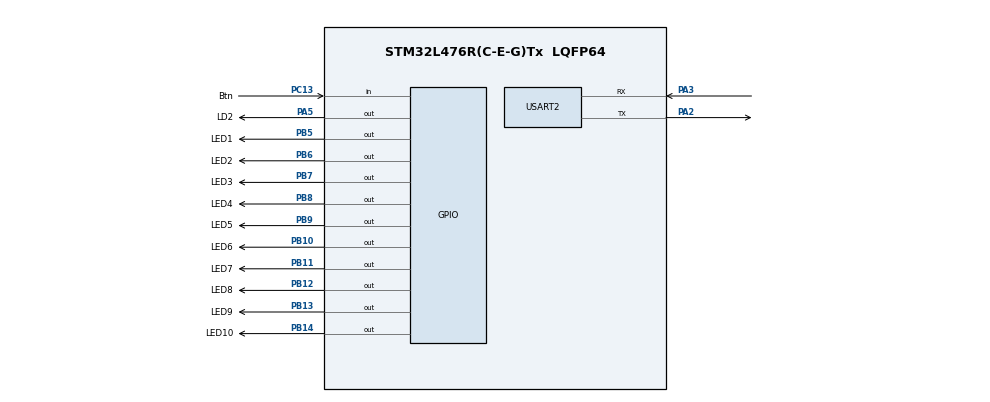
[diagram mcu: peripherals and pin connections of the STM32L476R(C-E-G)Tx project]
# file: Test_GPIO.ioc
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IWDG.Prescaler=IWDG_PRESCALER_32
Mcu.Family=STM32L4
Mcu.Name=STM32L476R(C-E-G)Tx
Mcu.Package=LQFP64
NVIC.PriorityGroup=NVIC_PRIORITYGROUP_4
PA2.Mode=Asynchronous
PA2.Signal=USART2_TX
PA3.Mode=Asynchronous
PA3.Signal=USART2_RX
PA5.GPIO_Label=LD2
PA5.Signal=GPIO_Output
PB10.GPIO_Label=LED6
PB10.Signal=GPIO_Output
PB11.GPIO_Label=LED7
PB11.Signal=GPIO_Output
PB12.GPIO_Label=LED8
PB12.Signal=GPIO_Output
PB13.GPIO_Label=LED9
PB13.Signal=GPIO_Output
PB14.GPIO_Label=LED10
PB14.Signal=GPIO_Output
PB5.GPIO_Label=LED1
PB5.Signal=GPIO_Output
PB6.GPIO_Label=LED2
PB6.Signal=GPIO_Output
PB7.GPIO_Label=LED3
PB7.Signal=GPIO_Output
PB8.GPIO_Label=LED4
PB8.Signal=GPIO_Output
PB9.GPIO_Label=LED5
PB9.Signal=GPIO_Output
PC13.GPIO_Label=Btn
PC13.Signal=GPIO_Input
PC14-OSC32_IN\ (PC14).Mode=LSE-External-Oscillator
PC14-OSC32_IN\ (PC14).Signal=RCC_OSC32_IN
PC15-OSC32_OUT\ (PC15).Mode=LSE-External-Oscillator
PC15-OSC32_OUT\ (PC15).Signal=RCC_OSC32_OUT
ProjectManager.HeapSize=0x200
ProjectManager.StackSize=0x400
ProjectManager.TargetToolchain=STM32CubeIDE
RCC.HSE_VALUE=8000000
RCC.HSI_VALUE=16000000
RCC.MSI_VALUE=4000000
RCC.RTCClockSelection=RCC_RTCCLKSOURCE_LSE
RCC.VCOOutputFreq_Value=32000000
USART2.VirtualMode-Asynchronous=VM_ASYNC
VP_IWDG_VS_IWDG.Mode=IWDG_Activate
VP_RTC_VS_RTC_Activate.Mode=RTC_Enabled
board=custom

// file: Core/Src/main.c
/* USER CODE BEGIN Header */
/**
  ******************************************************************************
  * @file           : main.c
  * @brief          : Main program body
  ******************************************************************************
  * @attention
  *
  * Copyright (c) 2022 STMicroelectronics.
  * All rights reserved.
  *
  * This software is licensed under terms that can be found in the LICENSE file
  * in the root directory of this software component.
  * If no LICENSE file comes with this software, it is provided AS-IS.
  *
  ******************************************************************************
  */
/* USER CODE END Header */
#include "main.h"
#include "iwdg.h"
#include "rtc.h"
#include "usart.h"
#include "gpio.h"

/* USER CODE BEGIN Includes */
#include <stdio.h>
#include <stdbool.h>
#include "printf_uart.h"
/* USER CODE END Includes */

void SystemClock_Config(void);

/* USER CODE BEGIN 0 */
/*
static const uint16_t LED_PIN[] = {
LED1_Pin, LED2_Pin, LED3_Pin, LED4_Pin, LED5_Pin,
LED6_Pin, LED7_Pin, LED8_Pin, LED9_Pin, LED10_Pin,
};

static GPIO_TypeDef* const LED_PORT[] = {
		LED1_GPIO_Port, LED2_GPIO_Port, LED3_GPIO_Port, LED4_GPIO_Port, LED5_GPIO_Port,
		LED6_GPIO_Port, LED7_GPIO_Port, LED8_GPIO_Port, LED9_GPIO_Port, LED10_GPIO_Port,
};
*/

typedef struct{
	GPIO_TypeDef* port;
	uint16_t pin;
}pin_t;

static const pin_t LED[] = {
		{ LED1_GPIO_Port, LED1_Pin },
		{ LED2_GPIO_Port, LED2_Pin },
		{ LED3_GPIO_Port, LED3_Pin },
		{ LED4_GPIO_Port, LED4_Pin },
		{ LED5_GPIO_Port, LED5_Pin },
		{ LED6_GPIO_Port, LED6_Pin },
		{ LED7_GPIO_Port, LED7_Pin },
		{ LED8_GPIO_Port, LED8_Pin },
		{ LED9_GPIO_Port, LED9_Pin },
		{ LED10_GPIO_Port, LED10_Pin },
};

void led_set(int led, bool turn_on)
{
	GPIO_PinState state;

	if(turn_on)
	{
		state = GPIO_PIN_SET;
	}else{
		state = GPIO_PIN_RESET;
	}

	if(led >= 0 && led < 10)
	{
		HAL_GPIO_WritePin(LED[led].port, LED[led].pin, state);

		if(state == GPIO_PIN_SET)
		{
	//		printf("Zapalona dioda to: %d \n", LED[led].pin);
		}

	}
}

bool is_button_pressed(void)
{
	if(HAL_GPIO_ReadPin(Btn_GPIO_Port, Btn_Pin) == GPIO_PIN_RESET)
	{
		return true;
	}else{
		return false;
	}
}

/* USER CODE END 0 */

int main(void)
{

  /* MCU Configuration--------------------------------------------------------*/

  /* Reset of all peripherals, Initializes the Flash interface and the Systick. */
  HAL_Init();

  /* Configure the system clock */
  SystemClock_Config();

  /* Initialize all configured peripherals */
  MX_GPIO_Init();
  MX_USART2_UART_Init();
  MX_RTC_Init();
  MX_IWDG_Init();

  /* Infinite loop */
  /* USER CODE BEGIN WHILE */
  uint dioda = 0;
  led_set(dioda, true);
  RTC_TimeTypeDef time;
  RTC_DateTypeDef date;
  RTC_DateTypeDef today;

  today.Year = 22;
  today.Month = 5;
  today.Date = 22;

HAL_RTC_SetDate(&hrtc, &today, RTC_FORMAT_BIN);

int i;

for (i = 0; i < 10; ++i)
{
	HAL_GPIO_TogglePin(LD2_GPIO_Port, LD2_Pin);
	HAL_Delay(100);
}

uint32_t czas_prev = HAL_GetTick();
uint32_t czas;

  while (1)
  {
	  czas = HAL_GetTick();
	  if(is_button_pressed())
	 	  {
		  	  while(1)
		  	  {

		  	  }
	 	  }

	  if(czas >=  czas_prev+1000)
	  {
		  HAL_GPIO_TogglePin(LD2_GPIO_Port, LD2_Pin);
		  czas_prev = czas;

		  HAL_IWDG_Init(&hiwdg);
	  }

	  /*
	  HAL_GPIO_TogglePin(LD2_GPIO_Port, LD2_Pin);
	  HAL_Delay(1000);

	  if(HAL_GPIO_ReadPin(Btn_GPIO_Port, Btn_Pin) == GPIO_PIN_RESET)
	  {
		  HAL_GPIO_WritePin(LD2_GPIO_Port, LD2_Pin, GPIO_PIN_SET);
	  }else{
		  HAL_GPIO_WritePin(LD2_GPIO_Port, LD2_Pin, GPIO_PIN_RESET);
	  }
 */

	  if(is_button_pressed())
	  {

		 RTC_TimeTypeDef new_time = {0};
		 while(is_button_pressed()){}
		 printf("Zmiana   \n");
		 new_time.Hours = 7;
		 new_time.Minutes = 32;
		 new_time.Seconds = 12;
		 HAL_RTC_SetTime(&hrtc, &new_time, RTC_FORMAT_BIN);

		 /* led_set(dioda, false);

		  if(dioda <= 10)
			  {
				  dioda++;
			  }else{
				  dioda = 0;
			  }

		  led_set(dioda, true);
	*/	  HAL_Delay(500);
	  }

HAL_RTC_GetTime(&hrtc, &time, RTC_FORMAT_BIN);
HAL_RTC_GetDate(&hrtc, &date, RTC_FORMAT_BIN);

printf("Aktualny czas: %02d:%02d:%02d,   %02d:%02d:%02d \n", time.Hours, time.Minutes, time.Seconds, date.Year, date.Month, date.Date);
HAL_Delay(1000);

    /* USER CODE END WHILE */

  }
}

void SystemClock_Config(void)
{
  RCC_OscInitTypeDef RCC_OscInitStruct = {0};
  RCC_ClkInitTypeDef RCC_ClkInitStruct = {0};

  /** Configure the main internal regulator output voltage
  */
  if (HAL_PWREx_ControlVoltageScaling(PWR_REGULATOR_VOLTAGE_SCALE1) != HAL_OK)
  {
    Error_Handler();
  }
  /** Configure LSE Drive Capability
  */
  HAL_PWR_EnableBkUpAccess();
  __HAL_RCC_LSEDRIVE_CONFIG(RCC_LSEDRIVE_LOW);
  /** Initializes the RCC Oscillators according to the specified parameters
  * in the RCC_OscInitTypeDef structure.
  */
  RCC_OscInitStruct.OscillatorType = RCC_OSCILLATORTYPE_LSI|RCC_OSCILLATORTYPE_LSE
                              |RCC_OSCILLATORTYPE_MSI;
  RCC_OscInitStruct.LSEState = RCC_LSE_ON;
  RCC_OscInitStruct.LSIState = RCC_LSI_ON;
  RCC_OscInitStruct.MSIState = RCC_MSI_ON;
  RCC_OscInitStruct.MSICalibrationValue = 0;
  RCC_OscInitStruct.MSIClockRange = RCC_MSIRANGE_6;
  RCC_OscInitStruct.PLL.PLLState = RCC_PLL_NONE;
  if (HAL_RCC_OscConfig(&RCC_OscInitStruct) != HAL_OK)
  {
    Error_Handler();
  }
  /** Initializes the CPU, AHB and APB buses clocks
  */
  RCC_ClkInitStruct.ClockType = RCC_CLOCKTYPE_HCLK|RCC_CLOCKTYPE_SYSCLK
                              |RCC_CLOCKTYPE_PCLK1|RCC_CLOCKTYPE_PCLK2;
  RCC_ClkInitStruct.SYSCLKSource = RCC_SYSCLKSOURCE_MSI;
  RCC_ClkInitStruct.AHBCLKDivider = RCC_SYSCLK_DIV1;
  RCC_ClkInitStruct.APB1CLKDivider = RCC_HCLK_DIV1;
  RCC_ClkInitStruct.APB2CLKDivider = RCC_HCLK_DIV1;

  if (HAL_RCC_ClockConfig(&RCC_ClkInitStruct, FLASH_LATENCY_0) != HAL_OK)
  {
    Error_Handler();
  }
  /** Enable MSI Auto calibration
  */
  HAL_RCCEx_EnableMSIPLLMode();
}

void Error_Handler(void)
{
  __disable_irq();
  while (1)
  {
  }
}
